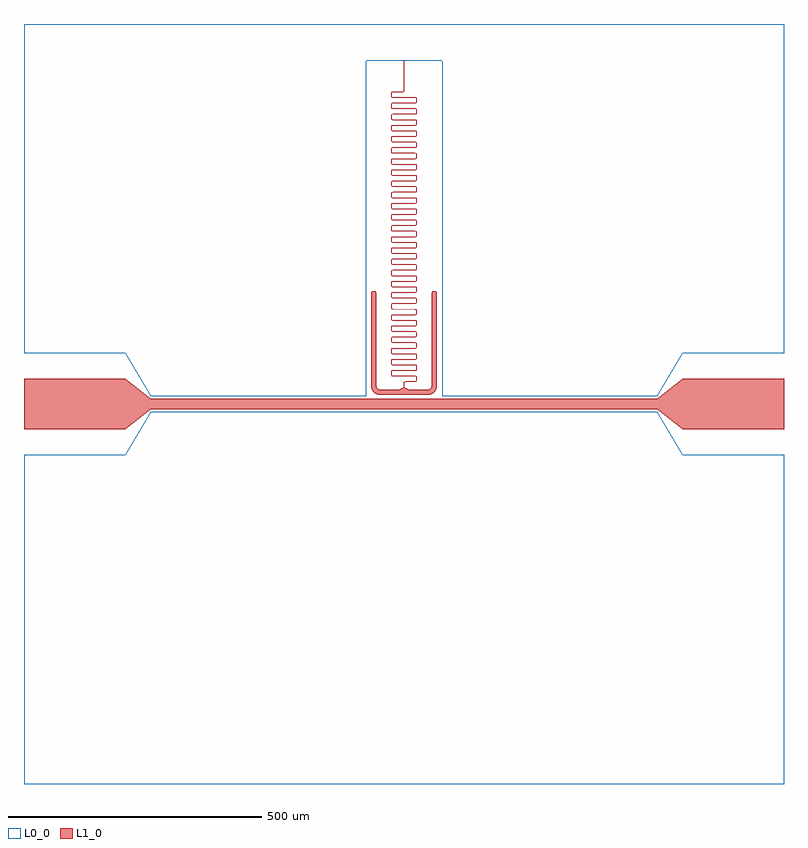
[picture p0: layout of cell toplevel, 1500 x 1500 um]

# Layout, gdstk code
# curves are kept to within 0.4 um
import gdstk
lib = gdstk.Library(unit=1e-6, precision=1e-09)
def P(c, l, *ps):  # polygons
    for p in ps: c.add(gdstk.Polygon(p, *l))
L0_0 = (0, 0)
L1_0 = (1, 0)

toplevel = lib.new_cell('toplevel')
P(toplevel, L0_0, [(75,677),(75,15),(500,15),(550,100),(750,100),(750,750),(-750,750),(-750,100),(-550,100),(-500,15),(-75,15),(-75,677)],
  [(750,-100),(550,-100),(500,-15),(-500,-15),(-550,-100),(-750,-100),(-750,-750),(750,-750)])
P(toplevel, L1_0, [(-60.218,222.995),(-63.535,221.536),(-65,218),(-64.99,39.524),(-64.29,32.416),(-62.145,26.739),(-59.319,23.124),(-55.507,20.445),(-50.909,18.784),(-45.298,18.062),(44.328,18.027),(50.909,18.784),(56.261,20.855),(59.876,23.681),(62.61,27.602),(64.29,32.416),(64.954,38.093),(65,218),(64.33,220.5),(61.913,222.619),(58.706,222.83),(56.033,221.044),(55.005,218.218),(54.997,40.245),(54.639,35.146),(53.505,31.775),(50.293,29.045),(44.613,28.042),(-43.741,28.016),(-48.747,28.549),(-52.052,30.047),(-53.955,32.707),(-54.865,36.88),(-55.005,218.218),(-56.622,221.686)],
  [(0.5,33),(0.542,41.395),(0.892,42.54),(1.647,43.207),(3.309,43.498),(22.056,43.513),(23.416,43.743),(24.439,44.314),(25.209,45.449),(25.492,47.074),(25.462,52.413),(25.237,53.474),(24.782,54.322),(23.609,55.187),(21.852,55.495),(-22.765,55.601),(-23.43,55.83),(-23.923,56.208),(-24.254,56.752),(-24.442,57.48),(-24.486,63.057),(-24.353,63.956),(-24.056,64.621),(-23.194,65.275),(-21.742,65.497),(22.451,65.542),(23.855,65.925),(24.834,66.747),(25.365,67.971),(25.489,74.018),(25.257,75.416),(24.918,76.129),(24.422,76.7),(23.761,77.121),(22.951,77.382),(21.454,77.5),(-22.074,77.515),(-23.153,77.71),(-23.887,78.169),(-24.319,78.93),(-24.491,80.041),(-24.386,85.824),(-23.85,86.869),(-22.794,87.393),(-21.451,87.5),(22.262,87.525),(23.628,87.821),(24.627,88.496),(25.251,89.564),(25.49,91),(25.494,95.889),(25.3,97.281),(24.974,98.039),(24.488,98.642),(23.836,99.085),(23.009,99.37),(21.454,99.5),(-22.074,99.515),(-23.139,99.705),(-23.878,100.159),(-24.314,100.916),(-24.49,102.025),(-24.386,107.824),(-23.85,108.869),(-22.794,109.393),(-21.451,109.5),(22.262,109.525),(23.628,109.821),(24.627,110.496),(25.244,111.545),(25.489,112.982),(25.494,117.889),(25.3,119.281),(24.974,120.039),(24.488,120.642),(23.836,121.085),(23.009,121.37),(21.454,121.5),(-22.074,121.515),(-23.139,121.705),(-23.878,122.159),(-24.314,122.916),(-24.49,124.025),(-24.386,129.824),(-23.85,130.869),(-22.794,131.393),(-21.451,131.5),(22.262,131.525),(23.628,131.821),(24.627,132.496),(25.244,133.545),(25.488,134.963),(25.494,139.889),(25.3,141.281),(24.974,142.039),(24.488,142.642),(23.836,143.085),(23.009,143.37),(21.454,143.5),(-22.074,143.515),(-23.139,143.705),(-23.878,144.159),(-24.314,144.916),(-24.489,146.008),(-24.386,151.824),(-23.85,152.869),(-22.794,153.393),(-21.451,153.5),(22.262,153.525),(23.609,153.813),(24.612,154.48),(25.237,155.526),(25.487,156.944),(25.494,161.889),(25.3,163.281),(24.974,164.039),(24.488,164.642),(23.836,165.085),(23.009,165.37),(21.454,165.5),(-22.057,165.514),(-23.126,165.7),(-23.869,166.15),(-24.31,166.902),(-24.488,167.992),(-24.386,173.824),(-23.85,174.869),(-22.794,175.393),(-21.451,175.5),(22.262,175.525),(23.609,175.813),(24.612,176.48),(25.237,177.526),(25.486,178.926),(25.494,183.889),(25.3,185.281),(24.974,186.039),(24.488,186.642),(23.836,187.085),(23.009,187.37),(21.454,187.5),(-22.057,187.514),(-23.126,187.7),(-23.869,188.15),(-24.31,188.902),(-24.488,189.975),(-24.386,195.824),(-23.85,196.869),(-22.794,197.393),(-21.451,197.5),(22.243,197.524),(23.609,197.813),(24.597,198.465),(25.231,199.507),(25.485,200.907),(25.494,205.871),(25.3,207.281),(24.974,208.039),(24.488,208.642),(23.836,209.085),(23.009,209.37),(21.454,209.5),(-22.057,209.514),(-23.126,209.7),(-23.86,210.14),(-24.305,210.888),(-24.487,211.959),(-24.386,217.824),(-23.85,218.869),(-22.794,219.393),(-21.451,219.5),(22.243,219.524),(23.609,219.813),(24.597,220.465),(25.224,221.487),(25.484,222.888),(25.494,227.871),(25.3,229.281),(24.974,230.039),(24.488,230.642),(23.836,231.085),(23.009,231.37),(21.454,231.5),(-22.057,231.514),(-23.126,231.7),(-23.86,232.14),(-24.3,232.874),(-24.486,233.943),(-24.39,239.809),(-23.86,240.86),(-22.794,241.393),(-21.451,241.5),(22.243,241.524),(23.609,241.813),(24.597,242.465),(25.224,243.487),(25.483,244.87),(25.494,249.871),(25.306,251.261),(24.974,252.039),(24.488,252.642),(23.836,253.085),(23.009,253.37),(21.454,253.5),(-22.057,253.514),(-23.112,253.695),(-23.85,254.131),(-24.295,254.861),(-24.484,255.91),(-24.39,261.809),(-23.86,262.86),(-22.794,263.393),(-21.451,263.5),(22.243,263.524),(23.609,263.813),(24.597,264.465),(25.224,265.487),(25.482,266.851),(25.494,271.871),(25.306,273.261),(24.974,274.039),(24.488,274.642),(23.836,275.085),(23.009,275.37),(21.454,275.5),(-22.057,275.514),(-23.112,275.695),(-23.85,276.131),(-24.29,276.847),(-24.483,277.894),(-24.39,283.809),(-23.86,284.86),(-22.794,285.393),(-21.451,285.5),(22.243,285.524),(23.589,285.806),(24.582,286.449),(25.209,287.449),(25.48,288.814),(25.495,293.852),(25.306,295.261),(24.974,296.039),(24.488,296.642),(23.836,297.085),(23.009,297.37),(21.454,297.5),(-22.041,297.513),(-23.098,297.69),(-23.841,298.122),(-24.285,298.833),(-24.482,299.877),(-24.39,305.809),(-23.86,306.86),(-22.794,307.393),(-21.451,307.5),(22.243,307.524),(23.589,307.806),(24.582,308.449),(25.209,309.449),(25.479,310.795),(25.495,315.852),(25.306,317.261),(24.974,318.039),(24.488,318.642),(23.836,319.085),(23.009,319.37),(21.454,319.5),(-22.041,319.513),(-23.098,319.69),(-23.831,320.113),(-24.28,320.819),(-24.48,321.845),(-24.39,327.809),(-23.86,328.86),(-22.794,329.393),(-21.451,329.5),(22.224,329.523),(23.57,329.798),(24.567,330.433),(25.202,331.43),(25.476,332.757),(25.495,337.852),(25.306,339.261),(24.974,340.039),(24.488,340.642),(23.836,341.085),(23.009,341.37),(21.454,341.5),(-22.041,341.513),(-23.098,341.69),(-23.831,342.113),(-24.28,342.819),(-24.479,343.829),(-24.39,349.809),(-23.86,350.86),(-22.794,351.393),(-21.451,351.5),(22.224,351.523),(23.551,351.791),(24.551,352.418),(25.194,353.411),(25.475,354.738),(25.495,359.852),(25.306,361.261),(24.974,362.039),(24.488,362.642),(23.836,363.085),(23.009,363.37),(21.454,363.5),(-22.041,363.513),(-23.084,363.686),(-23.821,364.104),(-24.27,364.792),(-24.476,365.796),(-24.393,371.794),(-23.86,372.86),(-22.794,373.393),(-21.451,373.5),(22.224,373.523),(23.551,373.791),(24.551,374.418),(25.187,375.391),(25.472,376.701),(25.495,381.834),(25.311,383.242),(24.985,384.021),(24.488,384.642),(23.836,385.085),(23.009,385.37),(21.454,385.5),(-22.025,385.512),(-23.07,385.681),(-23.812,386.095),(-24.264,386.779),(-24.474,387.764),(-24.393,393.794),(-23.86,394.86),(-22.794,395.393),(-21.451,395.5),(22.224,395.523),(23.551,395.791),(24.535,396.403),(25.179,397.372),(25.469,398.663),(25.496,403.816),(25.311,405.242),(24.985,406.021),(24.488,406.642),(23.836,407.085),(23.009,407.37),(21.454,407.5),(-22.025,407.512),(-23.07,407.681),(-23.802,408.086),(-24.259,408.765),(-24.471,409.732),(-24.393,415.794),(-23.86,416.86),(-22.794,417.393),(-21.451,417.5),(22.205,417.521),(23.532,417.784),(24.52,418.388),(25.163,419.334),(25.464,420.606),(25.496,425.816),(25.311,427.242),(24.985,428.021),(24.488,428.642),(23.836,429.085),(23.009,429.37),(21.454,429.5),(-22.025,429.512),(-23.056,429.677),(-23.792,430.077),(-24.248,430.738),(-24.467,431.684),(-24.396,437.779),(-23.86,438.86),(-22.794,439.393),(-21.451,439.5),(22.205,439.521),(23.513,439.776),(24.504,440.373),(25.155,441.315),(25.46,442.568),(25.496,447.797),(25.317,449.223),(24.996,450.003),(24.504,450.627),(23.836,451.085),(23.009,451.37),(21.454,451.5),(-22.008,451.512),(-23.042,451.672),(-23.782,452.068),(-24.237,452.712),(-24.462,453.636),(-24.396,459.779),(-23.86,460.86),(-22.794,461.393),(-21.451,461.5),(22.186,461.52),(23.493,461.769),(24.488,462.358),(25.138,463.277),(25.454,464.511),(25.496,469.779),(25.317,471.223),(24.996,472.003),(24.504,472.627),(23.836,473.085),(23.009,473.37),(21.454,473.5),(-22.008,473.512),(-23.027,473.668),(-23.762,474.051),(-24.219,474.673),(-24.456,475.589),(-24.396,481.779),(-23.86,482.86),(-22.779,483.396),(22.186,483.52),(23.493,483.769),(24.471,484.343),(25.121,485.239),(25.445,486.434),(25.497,491.743),(25.322,493.203),(24.996,494.003),(24.504,494.627),(23.836,495.085),(23.009,495.37),(21.454,495.5),(-21.992,495.511),(-23.013,495.664),(-23.741,496.034),(-24.207,496.647),(-24.449,497.526),(-24.399,503.765),(-23.86,504.86),(-22.779,505.396),(22.168,505.519),(23.455,505.756),(24.439,506.314),(25.094,507.183),(25.435,508.358),(25.498,513.706),(25.327,515.184),(25.006,515.984),(24.52,516.612),(23.855,517.075),(23.029,517.365),(21.454,517.5),(-21.975,517.51),(-22.985,517.655),(-23.72,518.017),(-24.189,518.608),(-24.44,519.464),(-24.399,525.765),(-23.86,526.86),(-22.779,527.396),(-21.451,527.5),(22.149,527.518),(23.436,527.749),(24.406,528.286),(25.066,529.127),(25.421,530.261),(25.498,535.67),(25.332,537.165),(25.016,537.966),(24.52,538.612),(23.855,539.075),(23.029,539.365),(21.454,539.5),(-21.975,539.51),(-22.97,539.651),(-23.699,540),(-24.163,540.558),(-24.425,541.372),(-24.403,547.75),(-23.869,548.85),(-22.779,549.396),(-21.434,549.5),(22.13,549.517),(23.397,549.736),(24.356,550.245),(25.027,551.052),(25.401,552.146),(25.499,557.598),(25.337,559.145),(25.027,559.948),(24.535,560.597),(23.873,561.066),(23.029,561.365),(21.454,561.5),(-21.942,561.509),(-22.927,561.639),(-23.655,561.968),(-24.129,562.496),(-24.406,563.265),(-24.406,569.735),(-23.869,570.85),(-22.779,571.396),(-21.434,571.5),(22.112,571.516),(23.339,571.717),(24.305,572.205),(24.974,572.961),(25.37,573.991),(25.5,579.49),(25.342,581.126),(25.027,581.948),(24.535,582.597),(23.873,583.066),(23.029,583.365),(21.454,583.5),(-21.926,583.508),(-22.898,583.632),(-23.61,583.937),(-24.086,584.425),(-24.379,585.146),(-24.5,586.497),(-24.412,591.704),(-23.878,592.841),(-22.779,593.396),(-21.434,593.5),(22.074,593.514),(23.281,593.7),(24.218,594.141),(24.895,594.835),(25.322,595.797),(25.5,597.51),(25.495,601.852),(25.352,603.087),(25.037,603.929),(24.551,604.582),(23.873,605.066),(23.029,605.365),(21.454,605.5),(-21.892,605.507),(-22.839,605.617),(-23.54,605.892),(-24.016,606.323),(-24.332,606.973),(-24.497,608.275),(-24.451,613.458),(-24.071,614.598),(-23.288,615.237),(-21.674,615.498),(-2.587,615.538),(-1.584,615.743),(-0.782,616.141),(-0.179,616.73),(0.237,617.526),(0.5,619.51),(0.5,677),(-0.5,677),(-0.5,619.531),(-0.705,617.861),(-1,617.301),(-1.425,616.914),(-2.812,616.522),(-21.761,616.497),(-22.854,616.401),(-23.742,616.13),(-24.859,615.218),(-25.417,613.758),(-25.497,608.257),(-25.288,606.68),(-24.846,605.764),(-24.165,605.105),(-23.242,604.689),(-22.056,604.513),(22.779,604.396),(23.878,603.841),(24.414,602.689),(24.499,597.411),(24.357,596.059),(24.056,595.379),(23.575,594.914),(22.868,594.624),(21.909,594.508),(-21.454,594.5),(-23.029,594.365),(-23.873,594.066),(-24.551,593.582),(-25.037,592.929),(-25.347,592.106),(-25.5,590.348),(-25.495,586.148),(-25.352,584.913),(-24.941,583.906),(-24.27,583.179),(-23.32,582.712),(-22.093,582.515),(22.779,582.396),(23.878,581.841),(24.409,580.719),(24.5,575.566),(24.393,574.206),(24.108,573.46),(23.632,572.952),(22.912,572.635),(21.942,572.509),(-21.454,572.5),(-23.029,572.365),(-23.873,572.066),(-24.535,571.597),(-25.027,570.948),(-25.337,570.145),(-25.499,568.562),(-25.386,563.068),(-25.006,562.016),(-24.339,561.231),(-23.378,560.73),(-22.13,560.517),(22.779,560.396),(23.869,559.85),(24.406,558.735),(24.417,552.326),(24.15,551.533),(23.677,550.984),(22.956,550.647),(21.959,550.509),(-21.454,550.5),(-23.029,550.365),(-23.855,550.075),(-24.52,549.612),(-25.016,548.966),(-25.332,548.165),(-25.499,546.634),(-25.411,541.204),(-25.047,540.09),(-24.389,539.272),(-23.416,538.743),(-22.149,538.518),(22.779,538.396),(23.869,537.85),(24.403,536.75),(24.433,530.418),(24.176,529.583),(23.709,529.008),(22.985,528.655),(21.975,528.51),(-21.454,528.5),(-23.029,528.365),(-23.855,528.075),(-24.52,527.612),(-25.006,526.984),(-25.327,526.184),(-25.498,524.706),(-25.429,519.319),(-25.085,518.164),(-24.422,517.3),(-23.455,516.756),(-22.168,516.519),(22.779,516.396),(23.86,515.86),(24.399,514.765),(24.444,508.495),(24.201,507.634),(23.741,507.034),(23.013,506.664),(21.992,506.511),(-21.454,506.5),(-23.029,506.365),(-23.855,506.075),(-24.52,505.612),(-25.006,504.984),(-25.322,504.203),(-25.497,502.743),(-25.44,497.396),(-25.103,496.202),(-24.455,495.329),(-23.474,494.763),(-22.168,494.519),(22.779,494.396),(23.86,493.86),(24.396,492.779),(24.453,486.558),(24.213,485.66),(23.751,485.042),(23.013,484.664),(21.992,484.511),(-21.454,484.5),(-23.009,484.37),(-23.836,484.085),(-24.504,483.627),(-24.996,483.003),(-25.317,482.223),(-25.497,480.761),(-25.45,475.473),(-25.121,474.239),(-24.471,473.343),(-23.493,472.769),(-22.186,472.52),(22.779,472.396),(23.86,471.86),(24.396,470.779),(24.46,464.621),(24.231,463.699),(23.772,463.059),(23.042,462.672),(22.008,462.512),(-21.454,462.5),(-23.009,462.37),(-23.836,462.085),(-24.504,461.627),(-24.996,461.003),(-25.317,460.223),(-25.496,458.779),(-25.456,453.53),(-25.138,452.277),(-24.488,451.358),(-23.493,450.769),(-22.186,450.52),(22.779,450.396),(23.86,449.86),(24.393,448.794),(24.465,442.668),(24.242,441.725),(23.782,441.068),(23.042,440.672),(22.008,440.512),(-21.454,440.5),(-23.009,440.37),(-23.836,440.085),(-24.504,439.627),(-24.996,439.003),(-25.317,438.223),(-25.496,436.797),(-25.462,431.587),(-25.163,430.334),(-24.52,429.388),(-23.532,428.784),(-22.205,428.521),(21.451,428.5),(22.794,428.393),(23.86,427.86),(24.396,426.779),(24.468,420.7),(24.254,419.752),(23.802,419.086),(23.07,418.681),(22.025,418.512),(-21.454,418.5),(-23.009,418.37),(-23.836,418.085),(-24.488,417.642),(-24.985,417.021),(-25.311,416.242),(-25.496,414.816),(-25.467,409.644),(-25.171,408.353),(-24.52,407.388),(-23.532,406.784),(-22.205,406.521),(21.451,406.5),(22.794,406.393),(23.86,405.86),(24.393,404.794),(24.472,398.748),(24.259,397.765),(23.812,397.095),(23.07,396.681),(22.025,396.512),(-21.454,396.5),(-23.009,396.37),(-23.836,396.085),(-24.488,395.642),(-24.985,395.021),(-25.311,394.242),(-25.496,392.816),(-25.47,387.682),(-25.179,386.372),(-24.535,385.403),(-23.551,384.791),(-22.224,384.523),(21.451,384.5),(22.794,384.393),(23.86,383.86),(24.393,382.794),(24.475,376.78),(24.27,375.792),(23.821,375.104),(23.084,374.686),(22.025,374.512),(-21.454,374.5),(-23.009,374.37),(-23.836,374.085),(-24.488,373.642),(-24.985,373.021),(-25.311,372.242),(-25.495,370.834),(-25.473,365.72),(-25.187,364.391),(-24.551,363.418),(-23.551,362.791),(-22.224,362.523),(21.451,362.5),(22.794,362.393),(23.86,361.86),(24.393,360.794),(24.478,354.812),(24.275,353.806),(23.831,353.113),(23.098,352.69),(22.041,352.513),(-21.454,352.5),(-23.009,352.37),(-23.836,352.085),(-24.488,351.642),(-24.974,351.039),(-25.306,350.261),(-25.495,348.852),(-25.476,343.757),(-25.202,342.43),(-24.567,341.433),(-23.57,340.798),(-22.224,340.523),(21.451,340.5),(22.794,340.393),(23.86,339.86),(24.39,338.809),(24.479,332.829),(24.28,331.819),(23.831,331.113),(23.098,330.69),(22.041,330.513),(-21.454,330.5),(-23.009,330.37),(-23.836,330.085),(-24.488,329.642),(-24.974,329.039),(-25.306,328.261),(-25.495,326.852),(-25.477,321.776),(-25.202,320.43),(-24.567,319.433),(-23.57,318.798),(-22.224,318.523),(21.451,318.5),(22.794,318.393),(23.86,317.86),(24.39,316.809),(24.481,310.861),(24.285,309.833),(23.841,309.122),(23.098,308.69),(22.041,308.513),(-21.454,308.5),(-23.009,308.37),(-23.836,308.085),(-24.488,307.642),(-24.974,307.039),(-25.306,306.261),(-25.495,304.852),(-25.48,299.814),(-25.209,298.449),(-24.582,297.449),(-23.589,296.806),(-22.243,296.524),(21.451,296.5),(22.794,296.393),(23.86,295.86),(24.39,294.809),(24.483,288.894),(24.29,287.847),(23.85,287.131),(23.112,286.695),(22.057,286.514),(-21.454,286.5),(-23.009,286.37),(-23.836,286.085),(-24.488,285.642),(-24.974,285.039),(-25.306,284.261),(-25.495,282.852),(-25.481,277.832),(-25.216,276.468),(-24.582,275.449),(-23.589,274.806),(-22.243,274.524),(21.451,274.5),(22.794,274.393),(23.86,273.86),(24.39,272.809),(24.484,266.91),(24.295,265.861),(23.85,265.131),(23.112,264.695),(22.057,264.514),(-21.454,264.5),(-23.009,264.37),(-23.836,264.085),(-24.488,263.642),(-24.974,263.039),(-25.306,262.261),(-25.494,260.871),(-25.482,255.851),(-25.224,254.487),(-24.597,253.465),(-23.609,252.813),(-22.243,252.524),(21.451,252.5),(22.794,252.393),(23.86,251.86),(24.39,250.809),(24.485,244.926),(24.3,243.874),(23.86,243.14),(23.126,242.7),(22.057,242.514),(-21.454,242.5),(-23.009,242.37),(-23.836,242.085),(-24.488,241.642),(-24.974,241.039),(-25.3,240.281),(-25.494,238.871),(-25.484,233.888),(-25.224,232.487),(-24.597,231.465),(-23.609,230.813),(-22.243,230.524),(21.451,230.5),(22.794,230.393),(23.86,229.86),(24.39,228.809),(24.486,222.943),(24.3,221.874),(23.86,221.14),(23.126,220.7),(22.057,220.514),(-21.454,220.5),(-23.009,220.37),(-23.836,220.085),(-24.488,219.642),(-24.974,219.039),(-25.3,218.281),(-25.494,216.871),(-25.485,211.907),(-25.231,210.507),(-24.597,209.465),(-23.609,208.813),(-22.243,208.524),(21.451,208.5),(22.794,208.393),(23.85,207.869),(24.386,206.824),(24.487,200.959),(24.305,199.888),(23.86,199.14),(23.126,198.7),(22.057,198.514),(-21.454,198.5),(-23.009,198.37),(-23.836,198.085),(-24.488,197.642),(-24.974,197.039),(-25.3,196.281),(-25.494,194.889),(-25.486,189.926),(-25.237,188.526),(-24.612,187.48),(-23.609,186.813),(-22.262,186.525),(21.451,186.5),(22.794,186.393),(23.85,185.869),(24.386,184.824),(24.488,178.975),(24.31,177.902),(23.869,177.15),(23.126,176.7),(22.057,176.514),(-21.454,176.5),(-23.009,176.37),(-23.836,176.085),(-24.488,175.642),(-24.974,175.039),(-25.3,174.281),(-25.494,172.889),(-25.487,167.944),(-25.237,166.526),(-24.612,165.48),(-23.609,164.813),(-22.262,164.525),(21.451,164.5),(22.794,164.393),(23.85,163.869),(24.386,162.824),(24.488,156.992),(24.31,155.902),(23.869,155.15),(23.126,154.7),(22.057,154.514),(-21.454,154.5),(-23.009,154.37),(-23.836,154.085),(-24.488,153.642),(-24.974,153.039),(-25.3,152.281),(-25.494,150.889),(-25.488,145.963),(-25.244,144.545),(-24.627,143.496),(-23.628,142.821),(-22.262,142.525),(21.451,142.5),(22.794,142.393),(23.85,141.869),(24.386,140.824),(24.489,135.008),(24.314,133.916),(23.878,133.159),(23.139,132.705),(22.074,132.515),(-21.454,132.5),(-23.009,132.37),(-23.836,132.085),(-24.488,131.642),(-24.974,131.039),(-25.3,130.281),(-25.494,128.889),(-25.488,123.963),(-25.244,122.545),(-24.627,121.496),(-23.628,120.821),(-22.262,120.525),(21.451,120.5),(22.794,120.393),(23.85,119.869),(24.386,118.824),(24.49,113.025),(24.314,111.916),(23.878,111.159),(23.139,110.705),(22.074,110.515),(-21.454,110.5),(-23.009,110.37),(-23.836,110.085),(-24.488,109.642),(-24.974,109.039),(-25.3,108.281),(-25.494,106.889),(-25.489,101.982),(-25.244,100.545),(-24.627,99.496),(-23.628,98.821),(-22.262,98.525),(21.451,98.5),(22.794,98.393),(23.85,97.869),(24.386,96.824),(24.491,91.041),(24.319,89.93),(23.887,89.169),(23.153,88.71),(22.074,88.515),(-21.454,88.5),(-23.009,88.37),(-23.836,88.085),(-24.488,87.642),(-24.974,87.039),(-25.3,86.281),(-25.494,84.889),(-25.49,80),(-25.251,78.564),(-24.627,77.496),(-23.628,76.821),(-22.262,76.525),(22.75,76.403),(23.812,75.905),(24.365,74.912),(24.495,73.826),(24.5,69.74),(24.412,68.296),(24.048,67.368),(23.353,66.793),(22.284,66.53),(-21.871,66.494),(-23.685,66.155),(-24.373,65.742),(-24.883,65.183),(-25.294,64.3),(-25.479,63.205),(-25.411,57.204),(-25.13,56.258),(-24.642,55.512),(-23.948,54.973),(-23.068,54.644),(-21.472,54.5),(21.758,54.497),(23.139,54.295),(24,53.699),(24.328,53.042),(24.48,52.155),(24.475,46.78),(24.115,45.472),(23.275,44.758),(21.657,44.502),(2.963,44.488),(1.603,44.264),(0.594,43.714),(-0.121,42.761),(-0.46,41.432),(-0.5,33)],
  [(10,28),(0.5,33),(-0.5,33),(-10,28)],
  [(-500,10),(-550,50),(-750,50),(-750,-50),(-550,-50),(-500,-10),(500,-10),(550,-50),(750,-50),(750,50),(550,50),(500,10)])

lib.write_gds('toplevel.gds')
